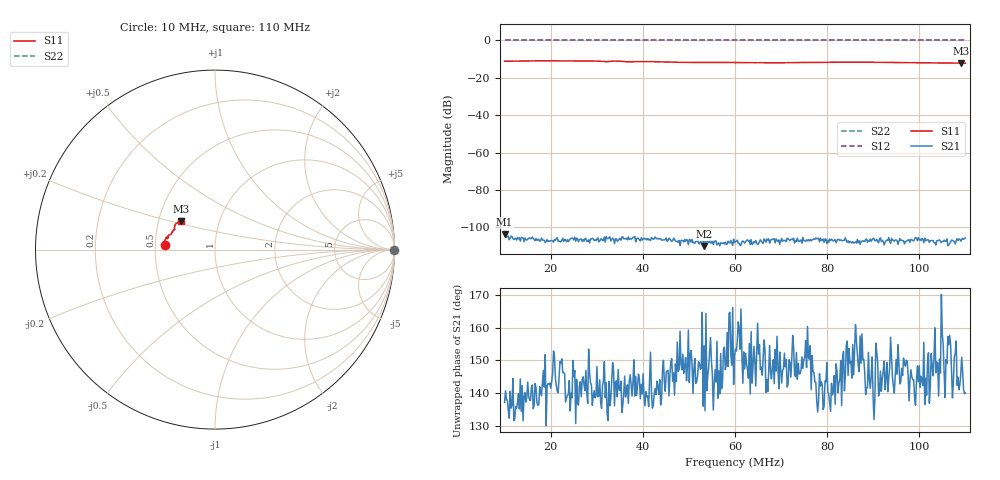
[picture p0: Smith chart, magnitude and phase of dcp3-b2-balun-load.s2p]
! Anritsu VNA Master:  Model: MS2034B/10/19/501
! SN:  1337062
! /bd0/ovro-jan-2016/dcp3-b2-balun-load.s2p
! Existing Calibration Information:
! TYPE:  Current Settings,  Active Cal Settings
! TIME:  01/14/2016 12:46:59 PM,  01/14/2016 12:01:10 PM
! INTERNAL TEMP:  42.5 C,  43.8 C
! # POINTS:  500,  500
! START FREQ:  10.000 MHz,  10.000 MHz
! STOP FREQ:  110.000 MHz,  110.000 MHz
! SOURCE POWER:  High,  High
! IFBW:  100 Hz,  100 Hz
! AVG FACTOR:  4 ,  4
! REF PLANE 1:  0 mm,  0 mm
! REF PLANE 2:  0 mm,  0 mm
! CAL TYPE:  Full S11,  Full S11
! CAL METHOD:  SOLT,  SOLT
! CAL LINE TYPE:  Coax,  Coax
! DUT PORT 1:  K-Conn(M),  K-Conn(M)
! DUT PORT 2:  N-Conn(M),  N-Conn(M)
! CAL STATUS:  OK: Accuracy High,  --
# GHZ S DB R 50.0
! FREQ.GHZ  S11DB  S11A  S21DB  S21A  S12DB  S12A  S22DB  S22A
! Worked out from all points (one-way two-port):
!   500 points, 10 MHz to 110 MHz, reference 50 ohm
!   highest |S21| = -103.73 dB at 10 MHz (marker M1); lowest = -110.0 dB at 53.29 MHz (marker M2)
!   lowest |S11| = -12.2 dB at 109 MHz (marker M3), VSWR 1.65, Z = 32.7 + j11 ohm
!   |S11| at or under -10 dB: start of sweep to end of sweep
!   |S22| runs from 0.0 to 0.0 dB; largest |S21 - S12| = 1
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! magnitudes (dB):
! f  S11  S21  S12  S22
! 10 MHz  -11.1  -103.7  0.0  0.0
! 14.21 MHz  -10.9  -107.6  0.0  0.0
! 18.02 MHz  -10.9  -105.6  0.0  0.0
! 26.83 MHz  -10.9  -107.5  0.0  0.0
! 30.84 MHz  -11.1  -106.2  0.0  0.0
! 32.04 MHz  -11.4  -104.9  0.0  0.0
! 33.25 MHz  -11.1  -106.3  0.0  0.0
! 34.05 MHz  -11.0  -106.1  0.0  0.0
! 35.25 MHz  -11.1  -106.8  0.0  0.0
! 36.85 MHz  -11.4  -105.0  0.0  0.0
! 39.86 MHz  -11.3  -106.7  0.0  0.0
! 43.47 MHz  -11.4  -106.2  0.0  0.0
! 49.28 MHz  -11.8  -107.4  0.0  0.0
! 53.29 MHz  -11.8  -110.0  0.0  0.0
! 60.1 MHz  -11.8  -107.7  0.0  0.0
! 69.12 MHz  -12.0  -106.8  0.0  0.0
! 73.53 MHz  -11.8  -105.7  0.0  0.0
! 76.73 MHz  -11.8  -106.6  0.0  0.0
! 86.55 MHz  -11.6  -106.4  0.0  0.0
! 93.37 MHz  -11.8  -105.4  0.0  0.0
! 109 MHz  -12.2  -107.3  0.0  0.0
! 110 MHz  -12.2  -105.7  0.0  0.0
